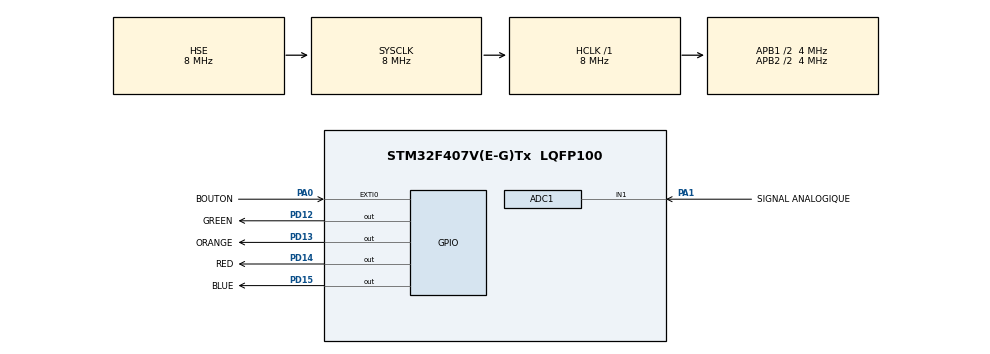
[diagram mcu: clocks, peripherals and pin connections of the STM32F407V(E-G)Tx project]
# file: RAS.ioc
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ADC1.Channel-0\#ChannelRegularConversion=ADC_CHANNEL_1
ADC1.DataAlign=ADC_DATAALIGN_LEFT
ADC1.EnableAnalogWatchDog=true
ADC1.NbrOfConversionFlag=1
ADC1.Rank-0\#ChannelRegularConversion=1
ADC1.SamplingTime-0\#ChannelRegularConversion=ADC_SAMPLETIME_3CYCLES
ADC1.WatchdogChannel=ADC_CHANNEL_1
ADC1.master=1
Mcu.Family=STM32F4
Mcu.Name=STM32F407V(E-G)Tx
Mcu.Package=LQFP100
NVIC.ADC_IRQn=true\:0\:0\:false\:false\:true\:true\:true\:true
NVIC.EXTI0_IRQn=true\:0\:0\:false\:false\:true\:true\:true\:true
NVIC.PriorityGroup=NVIC_PRIORITYGROUP_0
PA0-WKUP.GPIO_Label=BOUTON
PA0-WKUP.GPIO_PuPd=GPIO_NOPULL
PA0-WKUP.Signal=GPXTI0
PA1.GPIO_Label=SIGNAL ANALOGIQUE
PA1.Signal=SharedAnalog_PA1
PD12.GPIO_Label=GREEN
PD12.GPIO_ModeDefaultOutputPP=GPIO_MODE_OUTPUT_PP
PD12.GPIO_PuPd=GPIO_NOPULL
PD12.GPIO_Speed=GPIO_SPEED_FREQ_LOW
PD12.Signal=GPIO_Output
PD13.GPIO_Label=ORANGE
PD13.Signal=GPIO_Output
PD14.GPIO_Label=RED
PD14.PinState=GPIO_PIN_SET
PD14.Signal=GPIO_Output
PD15.GPIO_Label=BLUE
PD15.PinState=GPIO_PIN_SET
PD15.Signal=GPIO_Output
PH0-OSC_IN.Mode=HSE-External-Oscillator
PH0-OSC_IN.Signal=RCC_OSC_IN
PH1-OSC_OUT.Mode=HSE-External-Oscillator
PH1-OSC_OUT.Signal=RCC_OSC_OUT
ProjectManager.HeapSize=0x200
ProjectManager.StackSize=0x400
ProjectManager.TargetToolchain=STM32CubeIDE
RCC.48MHZClocksFreq_Value=9142857.142857144
RCC.AHBFreq_Value=8000000
RCC.APB1CLKDivider=RCC_HCLK_DIV2
RCC.APB1Freq_Value=4000000
RCC.APB1TimFreq_Value=8000000
RCC.APB2CLKDivider=RCC_HCLK_DIV2
RCC.APB2Freq_Value=4000000
RCC.APB2TimFreq_Value=8000000
RCC.CortexFreq_Value=8000000
RCC.HCLKFreq_Value=8000000
RCC.HSE_VALUE=8000000
RCC.HSI_VALUE=16000000
RCC.LSE_VALUE=32768
RCC.PLLM=8
RCC.PLLN=64
RCC.PLLQ=7
RCC.PLLSourceVirtual=RCC_PLLSOURCE_HSE
RCC.SYSCLKFreq_VALUE=8000000
RCC.SYSCLKSource=RCC_SYSCLKSOURCE_HSE
RCC.VCOOutputFreq_Value=64000000
SH.SharedAnalog_PA1.0=GPIO_Analog
SH.SharedAnalog_PA1.1=ADC1_IN1,IN1
board=STM32F407G-DISC1

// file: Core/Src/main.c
/* USER CODE BEGIN Header */
/**
  **************************************************************************
  * @file           : main.c
  * @brief          : Main program body
  **************************************************************************
  * @attention
  *
  * Copyright (c) 2024 STMicroelectronics.
  * All rights reserved.
  *
  * This software is licensed under terms that can be found in the LICENSE file
  * in the root directory of this software component.
  * If no LICENSE file comes with this software, it is provided AS-IS.
  *
  **************************************************************************
  */
/* USER CODE END Header */
#include "main.h"

/* USER CODE BEGIN PD */
# define SEUIL_1 15000
# define SEUIL_2 30000
# define SEUIL_3 45000

# define PIN12  0x0000 0000
# define PIN13  0x0000 0000
# define PIN14  0x0000 0000
# define PIN15  0x0000 0000

/* USER CODE END PD */

ADC_HandleTypeDef hadc1;

void SystemClock_Config(void);
static void MX_GPIO_Init(void);
static void MX_ADC1_Init(void);
/* USER CODE BEGIN PFP */
char button_flag = 0 ;
uint32_t seuil = 0 ;
/* USER CODE END PFP */

/* USER CODE BEGIN 0 */
void  HAL_ADC_ConvCpltCallback(ADC_HandleTypeDef *hadc)
{
    seuil = HAL_ADC_GetValue(&hadc1);
	if (seuil < SEUIL_1 ){
		HAL_GPIO_WritePin(GPIOD, GPIO_PIN_12 , GPIO_PIN_SET);
	}
	else if (seuil < SEUIL_2){
		HAL_GPIO_WritePin(GPIOD, GPIO_PIN_12 , GPIO_PIN_SET);
		HAL_GPIO_WritePin(GPIOD, GPIO_PIN_13 , GPIO_PIN_SET);
	}
	else if (seuil < SEUIL_3){
		HAL_GPIO_WritePin(GPIOD, GPIO_PIN_12 , GPIO_PIN_SET);
		HAL_GPIO_WritePin(GPIOD, GPIO_PIN_13 , GPIO_PIN_SET);
		HAL_GPIO_WritePin(GPIOD, GPIO_PIN_14 , GPIO_PIN_SET);
	}
	else{
		HAL_GPIO_WritePin(GPIOD, GPIO_PIN_12 , GPIO_PIN_SET);
		HAL_GPIO_WritePin(GPIOD, GPIO_PIN_13 , GPIO_PIN_SET);
		HAL_GPIO_WritePin(GPIOD, GPIO_PIN_14 , GPIO_PIN_SET);
		HAL_GPIO_WritePin(GPIOD, GPIO_PIN_15 , GPIO_PIN_SET);

	}

	HAL_ADC_Stop(&hadc1);
	seuil = 0;
}

void  HAL_GPIO_EXTI_Callback(uint16_t GPIO_Pin)
{

	button_flag = 1;

}

/* USER CODE END 0 */

int main(void)
{

  /* MCU Configuration--------------------------------------------------------*/

  /* Reset of all peripherals, Initializes the Flash interface and the Systick. */
  HAL_Init();

  /* Configure the system clock */
  SystemClock_Config();

  /* Initialize all configured peripherals */
  MX_GPIO_Init();
  MX_ADC1_Init();

  /* Infinite loop */
  /* USER CODE BEGIN WHILE */
  while (1)
  {
	  // wait for the button to be pressed
     if (button_flag)
     {
    	 HAL_ADC_Start_IT(&hadc1);
     }

    }

    /* USER CODE END WHILE */

}

void SystemClock_Config(void)
{
  RCC_OscInitTypeDef RCC_OscInitStruct = {0};
  RCC_ClkInitTypeDef RCC_ClkInitStruct = {0};

  /** Configure the main internal regulator output voltage
  */
  __HAL_RCC_PWR_CLK_ENABLE();
  __HAL_PWR_VOLTAGESCALING_CONFIG(PWR_REGULATOR_VOLTAGE_SCALE1);

  /** Initializes the RCC Oscillators according to the specified parameters
  * in the RCC_OscInitTypeDef structure.
  */
  RCC_OscInitStruct.OscillatorType = RCC_OSCILLATORTYPE_HSE;
  RCC_OscInitStruct.HSEState = RCC_HSE_ON;
  RCC_OscInitStruct.PLL.PLLState = RCC_PLL_NONE;
  if (HAL_RCC_OscConfig(&RCC_OscInitStruct) != HAL_OK)
  {
    Error_Handler();
  }

  /** Initializes the CPU, AHB and APB buses clocks
  */
  RCC_ClkInitStruct.ClockType = RCC_CLOCKTYPE_HCLK|RCC_CLOCKTYPE_SYSCLK
                              |RCC_CLOCKTYPE_PCLK1|RCC_CLOCKTYPE_PCLK2;
  RCC_ClkInitStruct.SYSCLKSource = RCC_SYSCLKSOURCE_HSE;
  RCC_ClkInitStruct.AHBCLKDivider = RCC_SYSCLK_DIV1;
  RCC_ClkInitStruct.APB1CLKDivider = RCC_HCLK_DIV2;
  RCC_ClkInitStruct.APB2CLKDivider = RCC_HCLK_DIV2;

  if (HAL_RCC_ClockConfig(&RCC_ClkInitStruct, FLASH_LATENCY_0) != HAL_OK)
  {
    Error_Handler();
  }
}

static void MX_ADC1_Init(void)
{

  ADC_AnalogWDGConfTypeDef AnalogWDGConfig = {0};
  ADC_ChannelConfTypeDef sConfig = {0};

  /** Configure the global features of the ADC (Clock, Resolution, Data Alignment and number of conversion)
  */
  hadc1.Instance = ADC1;
  hadc1.Init.ClockPrescaler = ADC_CLOCK_SYNC_PCLK_DIV2;
  hadc1.Init.Resolution = ADC_RESOLUTION_12B;
  hadc1.Init.ScanConvMode = DISABLE;
  hadc1.Init.ContinuousConvMode = DISABLE;
  hadc1.Init.DiscontinuousConvMode = DISABLE;
  hadc1.Init.ExternalTrigConvEdge = ADC_EXTERNALTRIGCONVEDGE_NONE;
  hadc1.Init.ExternalTrigConv = ADC_SOFTWARE_START;
  hadc1.Init.DataAlign = ADC_DATAALIGN_LEFT;
  hadc1.Init.NbrOfConversion = 1;
  hadc1.Init.DMAContinuousRequests = DISABLE;
  hadc1.Init.EOCSelection = ADC_EOC_SINGLE_CONV;
  if (HAL_ADC_Init(&hadc1) != HAL_OK)
  {
    Error_Handler();
  }

  /** Configure the analog watchdog
  */
  AnalogWDGConfig.WatchdogMode = ADC_ANALOGWATCHDOG_SINGLE_REG;
  AnalogWDGConfig.HighThreshold = 0;
  AnalogWDGConfig.LowThreshold = 0;
  AnalogWDGConfig.Channel = ADC_CHANNEL_1;
  AnalogWDGConfig.ITMode = DISABLE;
  if (HAL_ADC_AnalogWDGConfig(&hadc1, &AnalogWDGConfig) != HAL_OK)
  {
    Error_Handler();
  }

  /** Configure for the selected ADC regular channel its corresponding rank in the sequencer and its sample time.
  */
  sConfig.Channel = ADC_CHANNEL_1;
  sConfig.Rank = 1;
  sConfig.SamplingTime = ADC_SAMPLETIME_3CYCLES;
  if (HAL_ADC_ConfigChannel(&hadc1, &sConfig) != HAL_OK)
  {
    Error_Handler();
  }

}

static void MX_GPIO_Init(void)
{
  GPIO_InitTypeDef GPIO_InitStruct = {0};

  /* GPIO Ports Clock Enable */
  __HAL_RCC_GPIOE_CLK_ENABLE();
  __HAL_RCC_GPIOC_CLK_ENABLE();
  __HAL_RCC_GPIOH_CLK_ENABLE();
  __HAL_RCC_GPIOA_CLK_ENABLE();
  __HAL_RCC_GPIOB_CLK_ENABLE();
  __HAL_RCC_GPIOD_CLK_ENABLE();

  /*Configure GPIO pin Output Level */
  HAL_GPIO_WritePin(GPIOD, GREEN_Pin|ORANGE_Pin, GPIO_PIN_RESET);

  /*Configure GPIO pin Output Level */
  HAL_GPIO_WritePin(GPIOD, RED_Pin|BLUE_Pin, GPIO_PIN_SET);

  /*Configure GPIO pins : PE2 PE3 PE4 PE5
                           PE6 PE7 PE8 PE9
                           PE10 PE11 PE12 PE13
                           PE14 PE15 PE0 PE1 */
  GPIO_InitStruct.Pin = GPIO_PIN_2|GPIO_PIN_3|GPIO_PIN_4|GPIO_PIN_5
                          |GPIO_PIN_6|GPIO_PIN_7|GPIO_PIN_8|GPIO_PIN_9
                          |GPIO_PIN_10|GPIO_PIN_11|GPIO_PIN_12|GPIO_PIN_13
                          |GPIO_PIN_14|GPIO_PIN_15|GPIO_PIN_0|GPIO_PIN_1;
  GPIO_InitStruct.Mode = GPIO_MODE_ANALOG;
  GPIO_InitStruct.Pull = GPIO_NOPULL;
  HAL_GPIO_Init(GPIOE, &GPIO_InitStruct);

  /*Configure GPIO pins : PC13 PC14 PC15 PC0
                           PC1 PC2 PC3 PC4
                           PC5 PC6 PC7 PC8
                           PC9 PC10 PC11 PC12 */
  GPIO_InitStruct.Pin = GPIO_PIN_13|GPIO_PIN_14|GPIO_PIN_15|GPIO_PIN_0
                          |GPIO_PIN_1|GPIO_PIN_2|GPIO_PIN_3|GPIO_PIN_4
                          |GPIO_PIN_5|GPIO_PIN_6|GPIO_PIN_7|GPIO_PIN_8
                          |GPIO_PIN_9|GPIO_PIN_10|GPIO_PIN_11|GPIO_PIN_12;
  GPIO_InitStruct.Mode = GPIO_MODE_ANALOG;
  GPIO_InitStruct.Pull = GPIO_NOPULL;
  HAL_GPIO_Init(GPIOC, &GPIO_InitStruct);

  /*Configure GPIO pin : BOUTON_Pin */
  GPIO_InitStruct.Pin = BOUTON_Pin;
  GPIO_InitStruct.Mode = GPIO_MODE_IT_RISING;
  GPIO_InitStruct.Pull = GPIO_NOPULL;
  HAL_GPIO_Init(BOUTON_GPIO_Port, &GPIO_InitStruct);

  /*Configure GPIO pins : PA2 PA3 PA4 PA5
                           PA6 PA7 PA8 PA9
                           PA10 PA11 PA12 PA13
                           PA14 PA15 */
  GPIO_InitStruct.Pin = GPIO_PIN_2|GPIO_PIN_3|GPIO_PIN_4|GPIO_PIN_5
                          |GPIO_PIN_6|GPIO_PIN_7|GPIO_PIN_8|GPIO_PIN_9
                          |GPIO_PIN_10|GPIO_PIN_11|GPIO_PIN_12|GPIO_PIN_13
                          |GPIO_PIN_14|GPIO_PIN_15;
  GPIO_InitStruct.Mode = GPIO_MODE_ANALOG;
  GPIO_InitStruct.Pull = GPIO_NOPULL;
  HAL_GPIO_Init(GPIOA, &GPIO_InitStruct);

  /*Configure GPIO pins : PB0 PB1 PB2 PB10
                           PB11 PB12 PB13 PB14
                           PB15 PB3 PB4 PB5
                           PB6 PB7 PB8 PB9 */
  GPIO_InitStruct.Pin = GPIO_PIN_0|GPIO_PIN_1|GPIO_PIN_2|GPIO_PIN_10
                          |GPIO_PIN_11|GPIO_PIN_12|GPIO_PIN_13|GPIO_PIN_14
                          |GPIO_PIN_15|GPIO_PIN_3|GPIO_PIN_4|GPIO_PIN_5
                          |GPIO_PIN_6|GPIO_PIN_7|GPIO_PIN_8|GPIO_PIN_9;
  GPIO_InitStruct.Mode = GPIO_MODE_ANALOG;
  GPIO_InitStruct.Pull = GPIO_NOPULL;
  HAL_GPIO_Init(GPIOB, &GPIO_InitStruct);

  /*Configure GPIO pins : PD8 PD9 PD10 PD11
                           PD0 PD1 PD2 PD3
                           PD4 PD5 PD6 PD7 */
  GPIO_InitStruct.Pin = GPIO_PIN_8|GPIO_PIN_9|GPIO_PIN_10|GPIO_PIN_11
                          |GPIO_PIN_0|GPIO_PIN_1|GPIO_PIN_2|GPIO_PIN_3
                          |GPIO_PIN_4|GPIO_PIN_5|GPIO_PIN_6|GPIO_PIN_7;
  GPIO_InitStruct.Mode = GPIO_MODE_ANALOG;
  GPIO_InitStruct.Pull = GPIO_NOPULL;
  HAL_GPIO_Init(GPIOD, &GPIO_InitStruct);

  /*Configure GPIO pins : GREEN_Pin ORANGE_Pin RED_Pin BLUE_Pin */
  GPIO_InitStruct.Pin = GREEN_Pin|ORANGE_Pin|RED_Pin|BLUE_Pin;
  GPIO_InitStruct.Mode = GPIO_MODE_OUTPUT_PP;
  GPIO_InitStruct.Pull = GPIO_NOPULL;
  GPIO_InitStruct.Speed = GPIO_SPEED_FREQ_LOW;
  HAL_GPIO_Init(GPIOD, &GPIO_InitStruct);

  /* EXTI interrupt init*/
  HAL_NVIC_SetPriority(EXTI0_IRQn, 0, 0);
  HAL_NVIC_EnableIRQ(EXTI0_IRQn);

}

void Error_Handler(void)
{
  __disable_irq();
  while (1)
  {
  }
}
